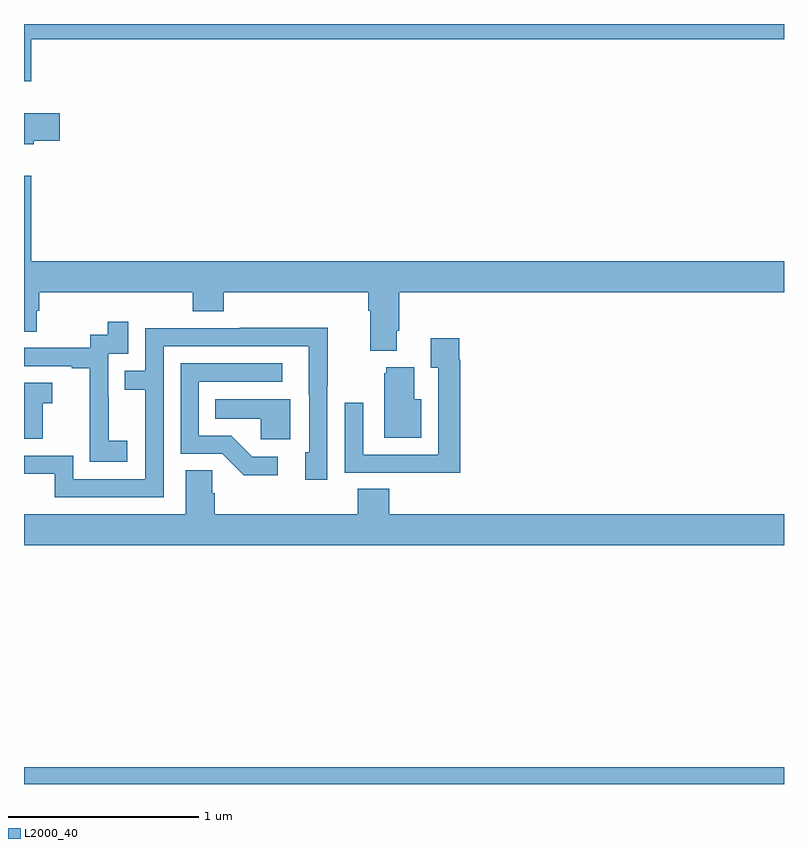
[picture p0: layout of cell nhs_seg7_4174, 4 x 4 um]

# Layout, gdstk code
import gdstk
lib = gdstk.Library(unit=1e-6, precision=1e-09)
def R(c, l, rs):  # rectangles x0, y0, x1, y1
    for r in rs: c.add(gdstk.rectangle(r[:2], r[2:], *l))
def P(c, l, *ps):  # polygons
    for p in ps: c.add(gdstk.Polygon(p, *l))
L2000_40 = (2000, 40)

nhs_seg7_4174 = lib.new_cell('nhs_seg7_4174')
R(nhs_seg7_4174, L2000_40, [(375,1026,379,1026.088)])
P(nhs_seg7_4174, L2000_40, [(375.037,1029.92),(379,1029.92),(379,1030),(375,1030),(375,1029.699),(375.037,1029.699)],
  [(375.052,1029.386),(375.187,1029.386),(375.187,1029.529),(375,1029.529),(375,1029.368),(375.052,1029.368)],
  [(376.963,1028.386),(376.976,1028.386),(376.976,1028.588),(379,1028.588),(379,1028.752),(375.037,1028.752),(375.037,1029.202),(375,1029.202),(375,1028.38),(375.067,1028.38),(375.067,1028.49),(375.08,1028.49),(375.08,1028.588),(375.887,1028.588),(375.887,1028.489),(376.052,1028.489),(376.052,1028.588),(376.811,1028.588),(376.811,1028.492),(376.823,1028.492),(376.823,1028.279),(376.963,1028.279)],
  [(375.544,1027.807),(375.446,1027.807),(375.446,1028.036),(375.444,1028.036),(375.444,1028.265),(375.549,1028.265),(375.549,1028.434),(375.441,1028.434),(375.441,1028.364),(375.348,1028.364),(375.348,1028.295),(375,1028.295),(375,1028.199),(375.251,1028.199),(375.251,1028.187),(375.347,1028.187),(375.347,1027.903),(375.346,1027.903),(375.346,1027.697),(375.544,1027.697)],
  [(375.735,1028.304),(376.499,1028.304),(376.499,1028.05),(376.5,1028.05),(376.5,1027.746),(376.481,1027.746),(376.481,1027.602),(376.596,1027.602),(376.596,1028.095),(376.599,1028.095),(376.599,1028.402),(376.135,1028.402),(376.135,1028.4),(375.639,1028.4),(375.639,1028.175),(375.529,1028.175),(375.529,1028.074),(375.639,1028.074),(375.639,1027.605),(375.258,1027.605),(375.258,1027.728),(375,1027.728),(375,1027.632),(375.161,1027.632),(375.161,1027.509),(375.735,1027.509)],
  [(377.297,1028.234),(377.29,1028.234),(377.29,1028.347),(377.141,1028.347),(377.141,1028.191),(377.181,1028.191),(377.181,1027.734),(376.785,1027.734),(376.785,1028.007),(376.689,1028.007),(376.689,1027.638),(377.005,1027.638),(377.005,1027.637),(377.297,1027.637)],
  [(376.336,1027.722),(376.201,1027.722),(376.09,1027.833),(375.921,1027.833),(375.921,1028.118),(376.36,1028.118),(376.36,1028.214),(375.825,1028.214),(375.825,1027.737),(376.044,1027.737),(376.157,1027.625),(376.336,1027.625)],
  [(377.092,1028.026),(377.053,1028.026),(377.053,1028.194),(376.907,1028.194),(376.907,1028.163),(376.895,1028.163),(376.895,1027.823),(377.092,1027.823)],
  [(375.099,1028.003),(375.148,1028.003),(375.148,1028.113),(375,1028.113),(375,1027.818),(375.099,1027.818)],
  [(376.402,1028.026),(376.006,1028.026),(376.006,1027.922),(376.245,1027.922),(376.245,1027.814),(376.402,1027.814)],
  [(379,1027.42),(376.922,1027.42),(376.922,1027.553),(376.757,1027.553),(376.757,1027.42),(376.004,1027.42),(376.004,1027.529),(375.99,1027.529),(375.99,1027.652),(375.851,1027.652),(375.851,1027.42),(375,1027.42),(375,1027.256),(379,1027.256)])

lib.write_gds('nhs_seg7_4174.gds')
